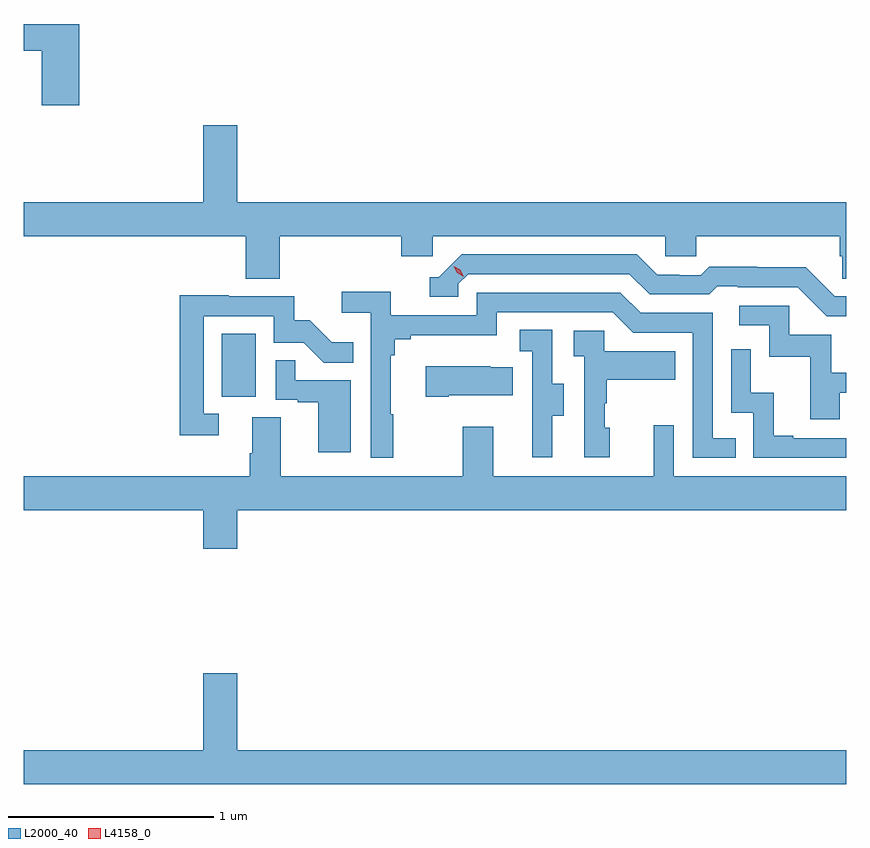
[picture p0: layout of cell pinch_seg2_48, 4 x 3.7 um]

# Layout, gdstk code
import gdstk
lib = gdstk.Library(unit=1e-6, precision=1e-09)
def R(c, l, rs):  # rectangles x0, y0, x1, y1
    for r in rs: c.add(gdstk.rectangle(r[:2], r[2:], *l))
def P(c, l, *ps):  # polygons
    for p in ps: c.add(gdstk.Polygon(p, *l))
L2000_40 = (2000, 40)
L4158_0 = (4158, 0)

pinch_seg2_48 = lib.new_cell('pinch_seg2_48')
R(pinch_seg2_48, L2000_40, [(1052.21,662.838,1052.374,663.145)])
P(pinch_seg2_48, L2000_40, [(1051.517,664.651),(1051.246,664.651),(1051.246,664.522),(1051.334,664.522),(1051.334,664.257),(1051.517,664.257)],
  [(1052.492,663.62),(1053.083,663.62),(1053.083,663.522),(1053.234,663.522),(1053.234,663.62),(1054.365,663.62),(1054.365,663.522),(1054.515,663.522),(1054.515,663.62),(1055.213,663.62),(1055.213,663.522),(1055.227,663.522),(1055.227,663.412),(1055.246,663.412),(1055.246,663.784),(1052.284,663.784),(1052.284,664.159),(1052.12,664.159),(1052.12,663.784),(1051.246,663.784),(1051.246,663.62),(1052.327,663.62),(1052.327,663.412),(1052.492,663.412)],
  [(1055.246,663.327),(1055.19,663.327),(1055.048,663.469),(1054.812,663.469),(1054.812,663.472),(1054.579,663.472),(1054.537,663.429),(1054.434,663.429),(1054.434,663.432),(1054.327,663.432),(1054.228,663.531),(1053.375,663.531),(1053.264,663.42),(1053.221,663.42),(1053.221,663.324),(1053.36,663.324),(1053.36,663.387),(1053.408,663.435),(1054.191,663.435),(1054.29,663.336),(1054.579,663.336),(1054.618,663.375),(1054.717,663.375),(1054.717,663.372),(1055.01,663.372),(1055.151,663.231),(1055.246,663.231)],
  [(1053.043,662.753),(1053.031,662.753),(1053.031,663.041),(1053.05,663.041),(1053.05,663.118),(1053.127,663.118),(1053.127,663.137),(1053.546,663.137),(1053.546,663.249),(1054.11,663.249),(1054.209,663.15),(1054.5,663.15),(1054.5,662.541),(1054.709,662.541),(1054.709,662.637),(1054.596,662.637),(1054.596,663.246),(1054.246,663.246),(1054.147,663.345),(1053.45,663.345),(1053.45,663.234),(1053.032,663.234),(1053.032,663.35),(1052.793,663.35),(1052.793,663.248),(1052.934,663.248),(1052.934,662.541),(1053.043,662.541)],
  [(1052.194,662.757),(1052.121,662.757),(1052.121,663.231),(1052.463,663.231),(1052.463,663.102),(1052.607,663.102),(1052.705,663.004),(1052.849,663.004),(1052.849,663.103),(1052.745,663.103),(1052.638,663.21),(1052.562,663.21),(1052.562,663.327),(1052.243,663.327),(1052.243,663.332),(1052.005,663.332),(1052.005,662.652),(1052.194,662.652)],
  [(1055.215,662.859),(1055.246,662.859),(1055.246,662.955),(1055.173,662.955),(1055.173,663.141),(1054.968,663.141),(1054.968,663.282),(1054.725,663.282),(1054.725,663.186),(1054.872,663.186),(1054.872,663.033),(1055.071,663.033),(1055.071,662.73),(1055.215,662.73)],
  [(1053.817,662.746),(1053.871,662.746),(1053.871,662.901),(1053.816,662.901),(1053.816,663.164),(1053.657,663.164),(1053.657,663.061),(1053.72,663.061),(1053.72,662.757),(1053.719,662.757),(1053.719,662.544),(1053.817,662.544)],
  [(1054.096,662.688),(1054.071,662.688),(1054.071,662.807),(1054.081,662.807),(1054.081,662.921),(1054.415,662.921),(1054.415,663.061),(1054.068,663.061),(1054.068,663.159),(1053.921,663.159),(1053.921,663.035),(1053.972,663.035),(1053.972,662.544),(1054.096,662.544)],
  [(1055.246,662.637),(1054.987,662.637),(1054.987,662.65),(1054.892,662.65),(1054.892,662.858),(1054.782,662.858),(1054.782,663.07),(1054.686,663.07),(1054.686,662.76),(1054.794,662.76),(1054.794,662.541),(1055.246,662.541)],
  [(1052.836,662.919),(1052.567,662.919),(1052.567,663.017),(1052.472,663.017),(1052.472,662.823),(1052.579,662.823),(1052.579,662.811),(1052.678,662.811),(1052.678,662.568),(1052.836,662.568)],
  [(1053.313,662.846),(1053.623,662.846),(1053.623,662.983),(1053.515,662.983),(1053.515,662.986),(1053.201,662.986),(1053.201,662.839),(1053.313,662.839)],
  [(1055.246,662.452),(1054.407,662.452),(1054.407,662.701),(1054.31,662.701),(1054.31,662.452),(1053.529,662.452),(1053.529,662.692),(1053.382,662.692),(1053.382,662.452),(1052.497,662.452),(1052.497,662.738),(1052.357,662.738),(1052.357,662.564),(1052.345,662.564),(1052.345,662.452),(1051.246,662.452),(1051.246,662.288),(1052.12,662.288),(1052.12,662.1),(1052.284,662.1),(1052.284,662.288),(1055.246,662.288)],
  [(1055.246,661.12),(1052.284,661.12),(1052.284,661.495),(1052.12,661.495),(1052.12,661.12),(1051.246,661.12),(1051.246,660.956),(1055.246,660.956)])
P(pinch_seg2_48, L4158_0, [(1053.385,663.422),(1053.354,663.441),(1053.337,663.474),(1053.337,663.474),(1053.337,663.474),(1053.369,663.455),(1053.385,663.422),(1053.385,663.422)])

lib.write_gds('pinch_seg2_48.gds')
